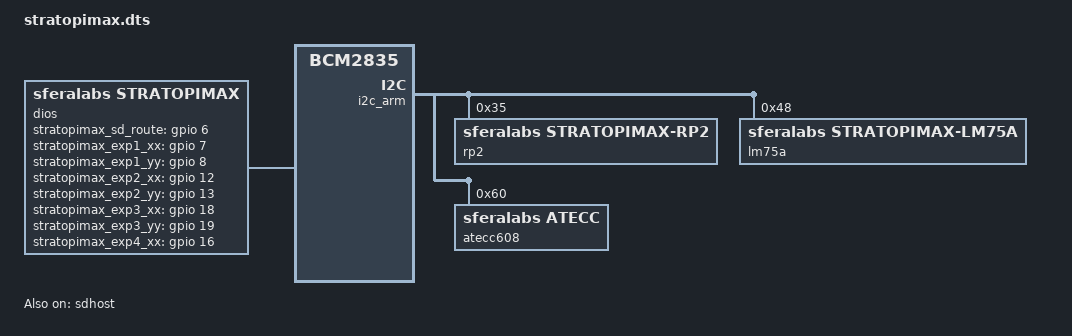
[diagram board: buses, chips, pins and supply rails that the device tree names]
/dts-v1/;
/plugin/;

/ {
    compatible = "brcm,bcm2835";
    
    fragment@0 {
        target-path = "/";
        __overlay__ {
            dios: dios {
                compatible = "sferalabs,stratopimax";
                pinctrl-names = "default";
                pinctrl-0 = <&dios_pins>;
                status = "okay";
                
                stratopimax_sd_route-gpios = <&gpio 6 0>;
                stratopimax_exp1_xx-gpios = <&gpio 7 0>;
                stratopimax_exp1_yy-gpios = <&gpio 8 0>;
                stratopimax_exp2_xx-gpios = <&gpio 12 0>;
                stratopimax_exp2_yy-gpios = <&gpio 13 0>;
                stratopimax_exp3_xx-gpios = <&gpio 18 0>;
                stratopimax_exp3_yy-gpios = <&gpio 19 0>;
                stratopimax_exp4_xx-gpios = <&gpio 16 0>;
                stratopimax_exp4_yy-gpios = <&gpio 17 0>;
            };
        };
    };
    
    fragment@1 {
        target = <&gpio>;
        __overlay__ {
            dios_pins: dios_pins {
                brcm,pins = <6 7 8 12 13 18 19 16 17>;
                brcm,function = <0>; /* in */
                brcm,pull = <0>; /* no pull */
            };
        };
    };
    
    fragment@2 {
        target = <&i2c_arm>;
        __overlay__ {
            #address-cells = <1>;
            #size-cells = <0>;
            status = "okay";
            
            rp2: rp2@35 {
                compatible = "sferalabs,stratopimax-rp2";
                reg = <0x35>;
                status = "okay";
            };
            
            lm75a: lm75a@48 {
                compatible = "sferalabs,stratopimax-lm75a";
                reg = <0x48>;
                status = "okay";
            };
            
            atecc608: atecc608@60 {
                compatible = "sferalabs,atecc";
                reg = <0x60>;
                status = "okay";
            };
        };
    };

    fragment@3 {
        target = <&sdhost>;
        frag0: __overlay__ {
            pinctrl-names = "default";
            pinctrl-0 = <&sdhost_pins>;
            bus-width = <4>;
            brcm,overclock-50 = <0>;
            brcm,pio-limit = <1>;
            status = "okay";
        };
    };

    fragment@4 {
        target = <&gpio>;
        __overlay__ {
            sdhost_pins: sdhost_pins {
                brcm,pins = <22 23 24 25 26 27>;
                brcm,function = <4 4 4 4 4 4>; /* ALT0: SD0 */
                brcm,pull = <0 2 2 2 2 2>; /* pull up all except clk */
            };
        };
    };

    fragment@5 {
        target = <&spidev0>;
        __overlay__ {
            status = "disabled";
        };
    };

    fragment@6 {
        target = <&spidev1>;
        __overlay__ {
            status = "disabled";
        };
    };
};
